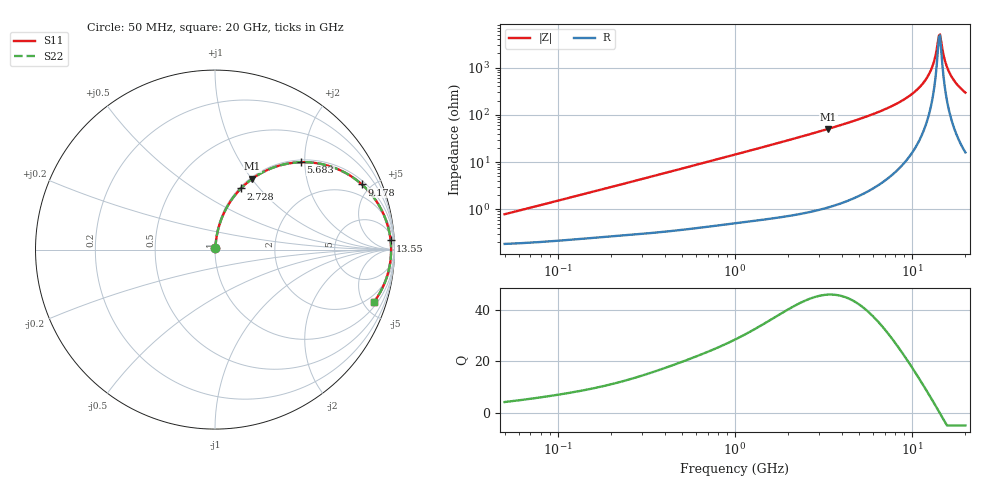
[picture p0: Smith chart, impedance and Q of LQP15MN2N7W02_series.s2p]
!Murata Part Number: LQP15MN2N7W02
!These Parameters are Measured in Series Mode Connection
!  o--[Z]--o
!Port1  Port2
!  o-------o
!Freq. Start=50[MHz] Stop=20[GHz], 401[Steps]
# Hz S RI R 50
!Freq.(Hz) S11(Real) S11(Imag) S21(Real) S21(Imag) S12(Real) S12(Imag) S22(Real) S22(Imag)
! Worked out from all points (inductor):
!   401 points, 50 MHz to 20 GHz, reference 50 ohm
!   read as one part in series: L = 2.42 nH near 51.52 MHz
!   highest Q = 46 at 3.364 GHz (marker M1), where L = 2.39 nH
!   self-resonance near 14.17 GHz
!   S11 on the Smith chart (normalised r, x): 50 MHz: 1.00, +0.02; 2.728 GHz: 1.02, +0.80; 5.683 GHz: 1.05, +1.91; 9.178 GHz: 1.21, +4.41; 13.55 GHz: 13, +33; 20 GHz: 1.32, -5.90
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5e7  0.0019 0.00761  0.9981 -0.00761  0.9981 -0.00761  0.0019 0.00761
1.364002e8  0.00278 0.0203  0.9972 -0.0203  0.9972 -0.0203  0.00278 0.0203
3.721004e8  0.00616 0.0537  0.9938 -0.0537  0.9938 -0.0537  0.00616 0.0537
1e9  0.025 0.1396  0.975 -0.1396  0.975 -0.1396  0.025 0.1396
2.728004e9  0.1444 0.3405  0.8556 -0.3405  0.8556 -0.3405  0.1444 0.3405
3.364474e9  0.2083 0.3954  0.7917 -0.3954  0.7917 -0.3954  0.2083 0.3954
5.683258e9  0.4779 0.4869  0.5221 -0.4869  0.5221 -0.4869  0.4779 0.4869
7.442007e9  0.6708 0.4537  0.3292 -0.4537  0.3292 -0.4537  0.6708 0.4537
9.178299e9  0.8186 0.3627  0.1814 -0.3627  0.1814 -0.3627  0.8186 0.3627
1.066139e10  0.905 0.2609  0.095 -0.2609  0.095 -0.2609  0.905 0.2609
1.183995e10  0.9486 0.1744  0.0514 -0.1744  0.0514 -0.1744  0.9486 0.1744
1.276073e10  0.9692 0.1071  0.0308 -0.1071  0.0308 -0.1071  0.9692 0.1071
1.314879e10  0.9747 0.0793  0.0253 -0.0793  0.0253 -0.0793  0.9747 0.0793
1.354865e10  0.9785 0.0511  0.0215 -0.0511  0.0215 -0.0511  0.9785 0.0511
1.396067e10  0.9808 0.0227  0.0192 -0.0227  0.0192 -0.0227  0.9808 0.0227
1.417136e10  0.9813 0.00846  0.0187 -0.00846  0.0187 -0.00846  0.9813 0.00846
1.438523e10  0.9813 -0.00579  0.0187 0.00579  0.0187 0.00579  0.9813 -0.00579
1.460232e10  0.981 -0.02  0.019 0.02  0.019 0.02  0.981 -0.02
1.550395e10  0.9755 -0.0767  0.0245 0.0767  0.0245 0.0767  0.9755 -0.0767
1.646126e10  0.9636 -0.1321  0.0364 0.1321  0.0364 0.1321  0.9636 -0.1321
1.800918e10  0.9342 -0.211  0.0658 0.211  0.0658 0.211  0.9342 -0.211
2e10  0.8846 -0.2935  0.1154 0.2935  0.1154 0.2935  0.8846 -0.2935
